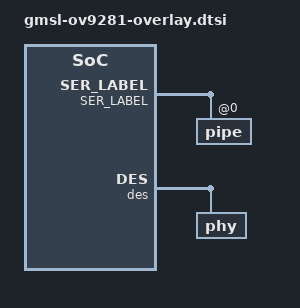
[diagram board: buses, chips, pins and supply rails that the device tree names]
// SPDX-License-Identifier: GPL-2.0
/*
 * Copyright (C) 2024 Antmicro <www.antmicro.com>
 */

#if defined(DES_CH_INDEX)
#if DES_CH_INDEX == 0
#define DES_CH_SECOND_INDEX 4
#elif DES_CH_INDEX == 1
#define DES_CH_SECOND_INDEX 5
#elif DES_CH_INDEX == 2
#define DES_CH_SECOND_INDEX 6
#elif DES_CH_INDEX == 3
#define DES_CH_SECOND_INDEX 7
#endif
#endif

#if defined(SER_INDEX)
#define SER_LABEL CONCAT(ser_, SER_INDEX)
#endif

#if !defined(SER_LABEL)
#error
#endif

#if !defined(DES_CH_SECOND_INDEX)
#error
#endif

&SER_LABEL {

	pipe@0 {
		maxim,dbl10;
		maxim,soft-bpp = <20>;
	};

	channel@1 {
		reg = <1>;

		label = STRINGIFY(SER_X_CH_Y_LABEL(SER_INDEX, 1));

		ports {
			#address-cells = <1>;
			#size-cells = <0>;

			port@0 {
				reg = <0>;

				SER_X_CH_Y_OUT_LABEL(SER_INDEX, 1): endpoint {
					remote-endpoint = <&DES_CH_Y_IN_LABEL(DES_CH_SECOND_INDEX)>;
				};
			};
		};
	};
};

&des {
	phy@GMSL_DES_PHY {
		maxim,alt-mem-map10;
	};


	channel@DES_CH_SECOND_INDEX {
		reg = <DES_CH_SECOND_INDEX>;

		maxim,phy-id = <GMSL_DES_PHY>;
		maxim,embedded-data;

		label = STRINGIFY(DES_CH_Y_LABEL(DES_CH_SECOND_INDEX));

		ports {
			#address-cells = <1>;
			#size-cells = <0>;

			port@1 {
				reg = <1>;

				DES_CH_Y_IN_LABEL(DES_CH_SECOND_INDEX): endpoint {
					remote-endpoint = <&SER_X_CH_Y_OUT_LABEL(SER_INDEX, 1)>;
				};
			};
		};
	};
};

#undef SER_INDEX
#undef SER_LABEL
#undef DES_CH_INDEX
#undef DES_CH_SECOND_INDEX
